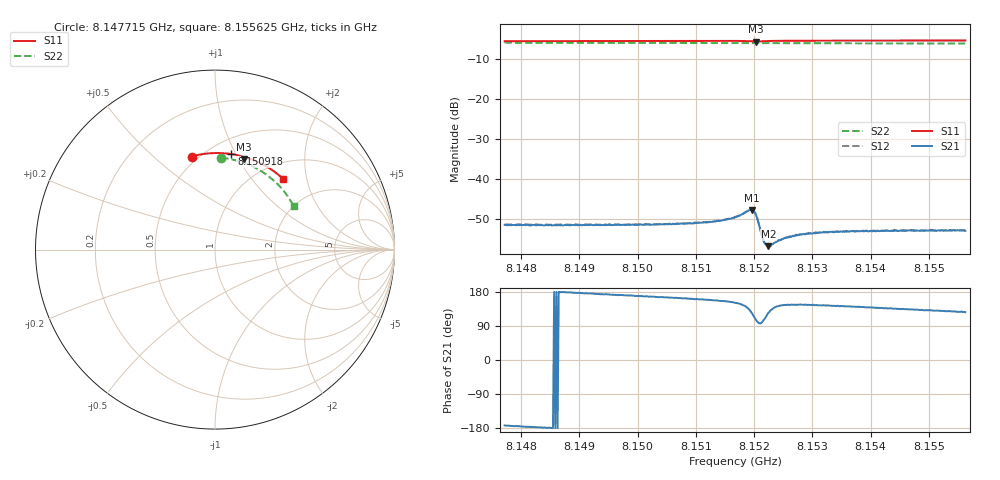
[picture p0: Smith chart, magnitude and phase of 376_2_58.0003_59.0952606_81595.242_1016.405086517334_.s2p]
#  HZ  S  RI  R  50.00
! Rohde & Schwarz Vector Network Analyzer
! Rohde-Schwarz,ZNB20-2Port,1311601062101988,3.16
! Created: UTC 3/21/2024, 1:07:08 AM
! freq[Hz]  re:S11  im:S11  re:S21  im:S21  re:S12  im:S12  re:S22  im:S22
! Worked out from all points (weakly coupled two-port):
!   401 points, 8.147715 GHz to 8.155625 GHz, reference 50 ohm
!   highest |S21| = -47.79 dB at 8.151966 GHz (marker M1); lowest = -56.9 dB at 8.152243 GHz (marker M2)
!   lowest |S11| = -5.5 dB at 8.152026 GHz (marker M3), VSWR 3.25, Z = 37.6 + j52.6 ohm
!   |S11| at or under -10 dB: nowhere
!   |S22| runs from -6.0 to -5.8 dB; largest |S21 - S12| = 0.00012
!   S11 on the Smith chart (normalised r, x): 8.147715 GHz: 0.46, +0.67; 8.150918 GHz: 0.64, +0.96; 8.155625 GHz: 1.29, +1.45
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8.1477145e9  -0.1305 0.5186  -0.00262 -0.000335  -0.00266 -0.000254  0.0358 0.5114
8.1490396e9  -0.0398 0.5358  -0.0026 0.000147  -0.00265 0.000213  0.1207 0.4965
8.1503646e9  0.0525 0.5368  -0.00261 0.000654  -0.0026 0.000683  0.2011 0.4677
8.1509183e9  0.0909 0.5327  -0.00261 0.000854  -0.00262 0.000929  0.2328 0.4518
8.1514127e9  0.1255 0.5262  -0.0027 0.00121  -0.00271 0.00121  0.26 0.4359
8.1516698e9  0.144 0.5209  -0.00286 0.0016  -0.0029 0.00163  0.2739 0.4269
8.1519071e9  0.1609 0.511  -0.00281 0.00287  -0.00279 0.00294  0.2862 0.418
8.1519665e9  0.1625 0.5066  -0.00217 0.00345  -0.00216 0.0035  0.289 0.4158
8.152006e9  0.1617 0.5046  -0.0014 0.00354  -0.00137 0.00359  0.2909 0.4143
8.1520258e9  0.1611 0.5044  -0.00102 0.00346  -0.000978 0.00349  0.2918 0.4135
8.1520654e9  0.1604 0.5057  -0.000456 0.00289  -0.000355 0.00296  0.2938 0.4122
8.1521247e9  0.1627 0.5087  -0.000281 0.00196  -0.000248 0.00202  0.2968 0.4102
8.1521642e9  0.1657 0.51  -0.000442 0.00157  -0.000404 0.00159  0.2987 0.4087
8.1522038e9  0.1689 0.5107  -0.000618 0.00135  -0.000627 0.00134  0.3009 0.4071
8.1522433e9  0.1724 0.5107  -0.000811 0.00117  -0.000831 0.00118  0.3028 0.4056
8.1523027e9  0.1771 0.5102  -0.00103 0.00109  -0.00104 0.00109  0.3058 0.4032
8.1525202e9  0.1933 0.5063  -0.00149 0.00103  -0.00145 0.00107  0.3166 0.3944
8.152718e9  0.207 0.5016  -0.0016 0.00109  -0.00164 0.00112  0.3261 0.3863
8.1529948e9  0.2254 0.4943  -0.00168 0.00117  -0.00171 0.00119  0.3389 0.3745
8.1536079e9  0.2641 0.476  -0.0017 0.00137  -0.00173 0.00136  0.3658 0.3467
8.1543199e9  0.3064 0.451  -0.00159 0.00153  -0.00161 0.00155  0.3943 0.3122
8.1556251e9  0.3775 0.3959  -0.00131 0.0018  -0.00135 0.00185  0.4374 0.2433
